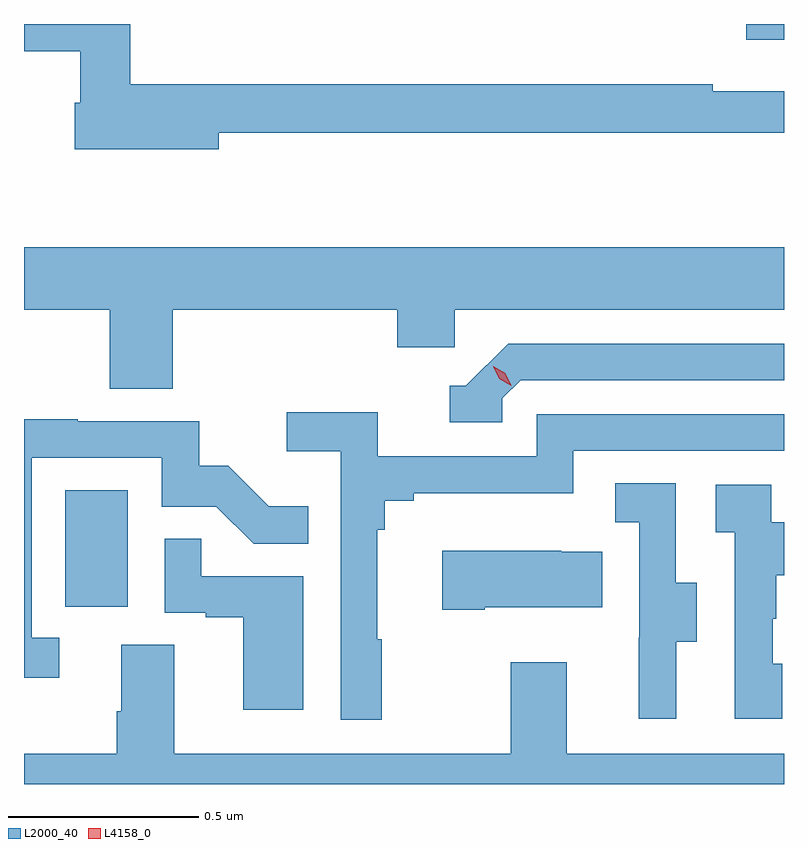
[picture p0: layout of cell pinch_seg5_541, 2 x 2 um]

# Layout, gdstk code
import gdstk
lib = gdstk.Library(unit=1e-6, precision=1e-09)
def R(c, l, rs):  # rectangles x0, y0, x1, y1
    for r in rs: c.add(gdstk.rectangle(r[:2], r[2:], *l))
def P(c, l, *ps):  # polygons
    for p in ps: c.add(gdstk.Polygon(p, *l))
L2000_40 = (2000, 40)
L4158_0 = (4158, 0)

pinch_seg5_541 = lib.new_cell('pinch_seg5_541')
R(pinch_seg5_541, L2000_40, [(1008.698,838.662,1008.862,838.969), (1010.49,840.155,1010.589,840.196)])
P(pinch_seg5_541, L2000_40, [(1009.102,839.91),(1010.589,839.91),(1010.589,840.019),(1010.402,840.019),(1010.402,840.038),(1008.869,840.038),(1008.869,840.196),(1008.589,840.196),(1008.589,840.124),(1008.737,840.124),(1008.737,839.989),(1008.722,839.989),(1008.722,839.867),(1009.102,839.867)],
  [(1008.98,839.444),(1009.571,839.444),(1009.571,839.346),(1009.722,839.346),(1009.722,839.444),(1010.589,839.444),(1010.589,839.608),(1008.589,839.608),(1008.589,839.444),(1008.815,839.444),(1008.815,839.236),(1008.98,839.236)],
  [(1009.848,839.211),(1009.896,839.259),(1010.589,839.259),(1010.589,839.355),(1009.863,839.355),(1009.752,839.244),(1009.709,839.244),(1009.709,839.148),(1009.848,839.148)],
  [(1009.531,838.577),(1009.519,838.577),(1009.519,838.865),(1009.538,838.865),(1009.538,838.942),(1009.615,838.942),(1009.615,838.961),(1010.034,838.961),(1010.034,839.073),(1010.589,839.073),(1010.589,839.169),(1009.938,839.169),(1009.938,839.058),(1009.52,839.058),(1009.52,839.174),(1009.281,839.174),(1009.281,839.072),(1009.422,839.072),(1009.422,838.365),(1009.531,838.365)],
  [(1008.682,838.581),(1008.609,838.581),(1008.609,839.055),(1008.951,839.055),(1008.951,838.926),(1009.095,838.926),(1009.193,838.828),(1009.337,838.828),(1009.337,838.927),(1009.233,838.927),(1009.126,839.034),(1009.05,839.034),(1009.05,839.151),(1008.731,839.151),(1008.731,839.156),(1008.589,839.156),(1008.589,838.476),(1008.682,838.476)],
  [(1010.305,838.57),(1010.359,838.57),(1010.359,838.725),(1010.304,838.725),(1010.304,838.988),(1010.145,838.988),(1010.145,838.885),(1010.208,838.885),(1010.208,838.581),(1010.207,838.581),(1010.207,838.368),(1010.305,838.368)],
  [(1010.584,838.512),(1010.559,838.512),(1010.559,838.631),(1010.569,838.631),(1010.569,838.745),(1010.589,838.745),(1010.589,838.885),(1010.556,838.885),(1010.556,838.983),(1010.409,838.983),(1010.409,838.859),(1010.46,838.859),(1010.46,838.368),(1010.584,838.368)],
  [(1009.324,838.743),(1009.055,838.743),(1009.055,838.841),(1008.96,838.841),(1008.96,838.647),(1009.067,838.647),(1009.067,838.635),(1009.166,838.635),(1009.166,838.392),(1009.324,838.392)],
  [(1009.801,838.661),(1010.111,838.661),(1010.111,838.807),(1010.003,838.807),(1010.003,838.81),(1009.689,838.81),(1009.689,838.654),(1009.801,838.654)],
  [(1010.589,838.276),(1010.017,838.276),(1010.017,838.516),(1009.87,838.516),(1009.87,838.276),(1008.985,838.276),(1008.985,838.562),(1008.845,838.562),(1008.845,838.388),(1008.833,838.388),(1008.833,838.276),(1008.589,838.276),(1008.589,838.196),(1010.589,838.196)])
P(pinch_seg5_541, L4158_0, [(1009.871,839.244),(1009.84,839.263),(1009.824,839.296),(1009.824,839.296),(1009.824,839.296),(1009.855,839.277),(1009.871,839.244),(1009.871,839.244)])

lib.write_gds('pinch_seg5_541.gds')
